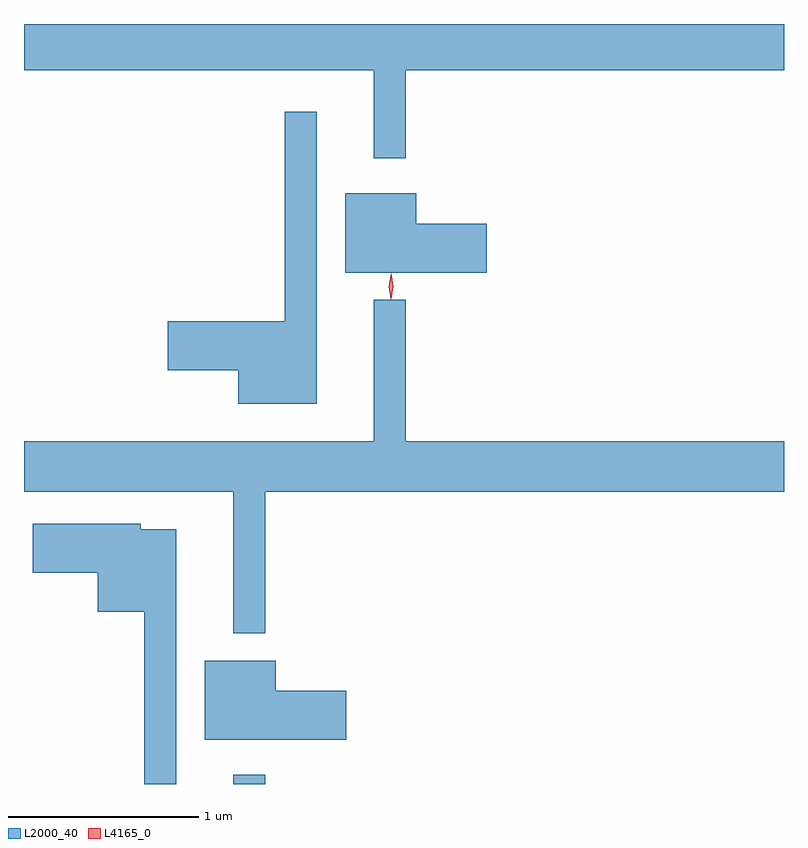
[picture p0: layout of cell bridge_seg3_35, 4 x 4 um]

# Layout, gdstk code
import gdstk
lib = gdstk.Library(unit=1e-6, precision=1e-09)
def R(c, l, rs):  # rectangles x0, y0, x1, y1
    for r in rs: c.add(gdstk.rectangle(r[:2], r[2:], *l))
def P(c, l, *ps):  # polygons
    for p in ps: c.add(gdstk.Polygon(p, *l))
L2000_40 = (2000, 40)
L4165_0 = (4165, 0)

bridge_seg3_35 = lib.new_cell('bridge_seg3_35')
R(bridge_seg3_35, L2000_40, [(1344.141,1179.979,1344.309,1180.028)])
P(bridge_seg3_35, L2000_40, [(1345.049,1183.736),(1347.039,1183.736),(1347.039,1183.979),(1343.039,1183.979),(1343.039,1183.736),(1344.881,1183.736),(1344.881,1183.273),(1345.049,1183.273)],
  [(1344.579,1183.518),(1344.411,1183.518),(1344.411,1182.414),(1343.796,1182.414),(1343.796,1182.156),(1344.166,1182.156),(1344.166,1181.981),(1344.579,1181.981)],
  [(1345.474,1182.929),(1345.104,1182.929),(1345.104,1183.089),(1344.731,1183.089),(1344.731,1182.671),(1345.474,1182.671)],
  [(1344.309,1181.516),(1347.039,1181.516),(1347.039,1181.784),(1345.049,1181.784),(1345.049,1182.528),(1344.881,1182.528),(1344.881,1181.784),(1343.039,1181.784),(1343.039,1181.516),(1344.141,1181.516),(1344.141,1180.773),(1344.309,1180.773)],
  [(1343.839,1181.319),(1343.654,1181.319),(1343.654,1181.349),(1343.086,1181.349),(1343.086,1181.091),(1343.426,1181.091),(1343.426,1180.886),(1343.671,1180.886),(1343.671,1179.979),(1343.839,1179.979)],
  [(1344.734,1180.469),(1344.364,1180.469),(1344.364,1180.629),(1343.991,1180.629),(1343.991,1180.211),(1344.734,1180.211)])
P(bridge_seg3_35, L4165_0, [(1344.971,1182.53),(1344.962,1182.598),(1344.971,1182.666),(1344.972,1182.666),(1344.972,1182.666),(1344.982,1182.598),(1344.972,1182.53),(1344.972,1182.53)],
  [(1344.968,1182.533),(1344.968,1182.533),(1344.958,1182.596),(1344.968,1182.659),(1344.968,1182.66),(1344.969,1182.659),(1344.978,1182.596),(1344.969,1182.533)])

lib.write_gds('bridge_seg3_35.gds')
